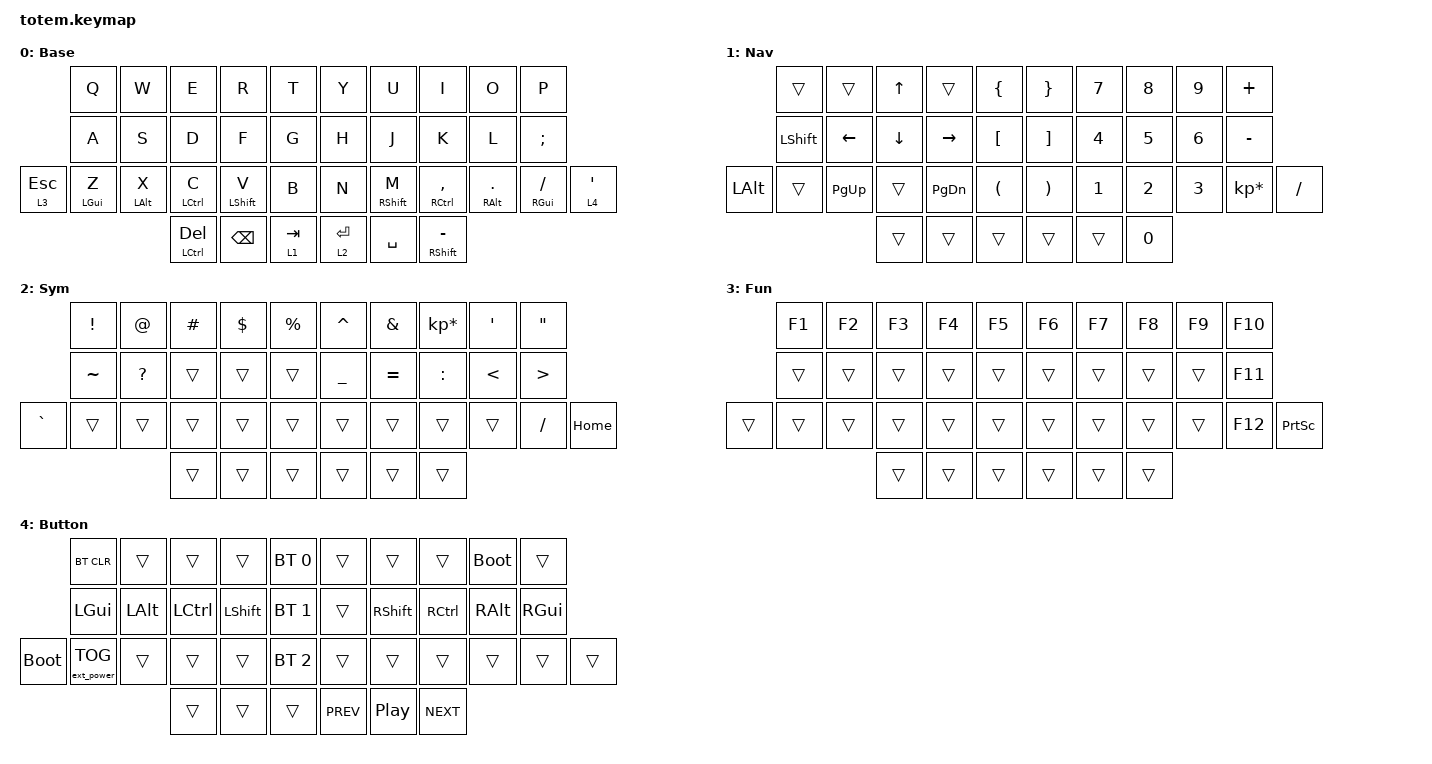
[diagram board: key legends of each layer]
//
//                                                        ▀▀▀▀▀     ▀▀▀▀▀          ▀▀█▀▀
//                                                        ▄▀▀▀▄  ▄  ▄▀▀▀▄  ▄  ▄▀▀▀▄  █  ▄▀▀▀▄
//                                                        █   █  █  █   █  █  █   █  █  █   █
//                                                         ▀▀▀   █   ▀▀▀   █   ▀▀▀   ▀   ▀▀▀
//                                                               █      ▄▄▄█▄▄▄    █   █  
//                                                               ▀      █  █  █     █▄█
//                                                             ▀▀▀▀▀    █  █  █      ▀
//                                                                      ▀  ▀  ▀
//
// ▄▄▄▄▄▄▄▄▄▄▄▄▄▄▄▄▄▄▄▄▄▄▄▄▄▄▄▄▄▄▄▄▄▄▄▄▄▄▄▄▄▄▄▄▄▄▄▄▄▄▄▄▄▄▄▄▄▄▄▄▄▄▄▄▄▄▄▄▄▄▄▄▄▄▄▄▄▄▄▄▄▄▄▄▄▄▄▄▄▄▄▄▄▄▄▄▄▄▄▄▄▄▄▄▄▄▄▄▄▄▄▄▄▄▄▄▄▄▄▄▄▄▄▄▄▄▄▄▄▄▄▄▄▄▄▄▄▄▄▄▄▄▄▄▄▄▄▄▄

#include <behaviors.dtsi>
#include <dt-bindings/zmk/bt.h>
#include <dt-bindings/zmk/ext_power.h>
#include <dt-bindings/zmk/keys.h>

#define Base        0
#define Media       1
#define Nav         2
#define Mouse       3
#define Sym         4
#define Num         5
#define Fun         6
#define Button      7
#define Game        8
#define Gameplus    9

&mt {
    quick-tap-ms = <100>;
    global-quick-tap;
    flavor = "tap-preferred";
    tapping-term-ms = <170>;
};

&lt {
    tapping-term-ms = <240>;
    flavor = "balanced";
    quick-tap-ms = <150>;
};

/ {
    behaviors {
        hm: homerow_mods {
            compatible = "zmk,behavior-hold-tap";
            label = "HOMEROW_MODS";
            #binding-cells = <2>;
            flavor = "tap-preferred";
            tapping-term-ms = <200>;
            quick-tap-ms = <125>;
            global-quick-tap;
            bindings = <&kp>, <&kp>;
        };
    };

    combos {
        compatible = "zmk,combos";

        enter {
            bindings = <&kp ENTER>;
            key-positions = <2 3>;
        };

        esc {
            bindings = <&kp ESCAPE>;
            key-positions = <2 1>;
        };
    };

    keymap {
        compatible = "zmk,keymap";

        Base {
            label = "Base";
            bindings = <
              &kp Q           &kp W       &kp E               &kp R             &kp T        &kp Y        &kp U              &kp I                    &kp O              &kp P
              &kp A           &kp S       &kp D               &kp F             &kp G        &kp H        &kp J              &kp K                    &kp L              &kp SEMICOLON
&lt 3 ESCAPE  &hm LEFT_GUI Z  &hm LALT X  &hm LEFT_CONTROL C  &hm LEFT_SHIFT V  &kp B        &kp N        &hm RIGHT_SHIFT M  &hm RIGHT_CONTROL COMMA  &hm RIGHT_ALT DOT  &hm RGUI SLASH  &lt 4 APOSTROPHE
                                          &mt LCTRL DEL       &kp BACKSPACE     &lt 1 TAB    &lt 2 ENTER  &kp SPACE          &mt RIGHT_SHIFT MINUS
            >;
        };

        Nav {
            label = "Nav";
            bindings = <
              &trans          &trans       &kp UP_ARROW  &trans     &kp LBRC    &kp RBRC  &kp NUMBER_7  &kp NUMBER_8  &kp NUMBER_9  &kp PLUS
              &kp LEFT_SHIFT  &kp LEFT     &kp DOWN      &kp RIGHT  &kp LBKT    &kp RBKT  &kp NUMBER_4  &kp NUMBER_5  &kp NUMBER_6  &kp MINUS
&kp LEFT_ALT  &trans          &kp PAGE_UP  &trans        &kp PG_DN  &kp LPAR    &kp RPAR  &kp NUMBER_1  &kp NUMBER_2  &kp NUMBER_3  &kp KP_MULTIPLY  &kp SLASH
                                           &trans        &trans     &trans      &trans    &trans        &kp NUMBER_0
            >;
        };

        Sym {
            label = "Sym";
            bindings = <
           &kp EXCL   &kp AT        &kp HASH  &kp DOLLAR  &kp PERCENT    &kp CARET  &kp AMPERSAND  &kp KP_ASTERISK  &kp SQT        &kp DQT
           &kp TILDE  &kp QUESTION  &trans    &trans      &trans         &kp UNDER  &kp EQUAL      &kp COLON        &kp LESS_THAN  &kp GREATER_THAN
&kp GRAVE  &trans     &trans        &trans    &trans      &trans         &trans     &trans         &trans           &trans         &kp SLASH         &kp HOME
                                    &trans    &trans      &trans         &trans     &trans         &trans
            >;
        };

        Fun {
            label = "Fun";
            bindings = <
        &kp F1  &kp F2  &kp F3  &kp F4  &kp F5    &kp F6  &kp F7  &kp F8  &kp F9  &kp F10
        &trans  &trans  &trans  &trans  &trans    &trans  &trans  &trans  &trans  &kp F11
&trans  &trans  &trans  &trans  &trans  &trans    &trans  &trans  &trans  &trans  &kp F12  &kp PRINTSCREEN
                        &trans  &trans  &trans    &trans  &trans  &trans
            >;
        };

        Button {
            label = "Button";
            bindings = <
             &bt BT_CLR         &trans    &trans     &trans      &bt BT_SEL 0    &trans      &trans            &trans      &bootloader  &trans
             &kp LGUI           &kp LALT  &kp LCTRL  &kp LSHIFT  &bt BT_SEL 1    &trans      &kp RSHIFT        &kp RCTRL   &kp RALT     &kp RGUI
&bootloader  &ext_power EP_TOG  &trans    &trans     &trans      &bt BT_SEL 2    &trans      &trans            &trans      &trans       &trans    &trans
                                          &trans     &trans      &trans          &kp C_PREV  &kp C_PLAY_PAUSE  &kp C_NEXT
            >;
        };
    };
};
